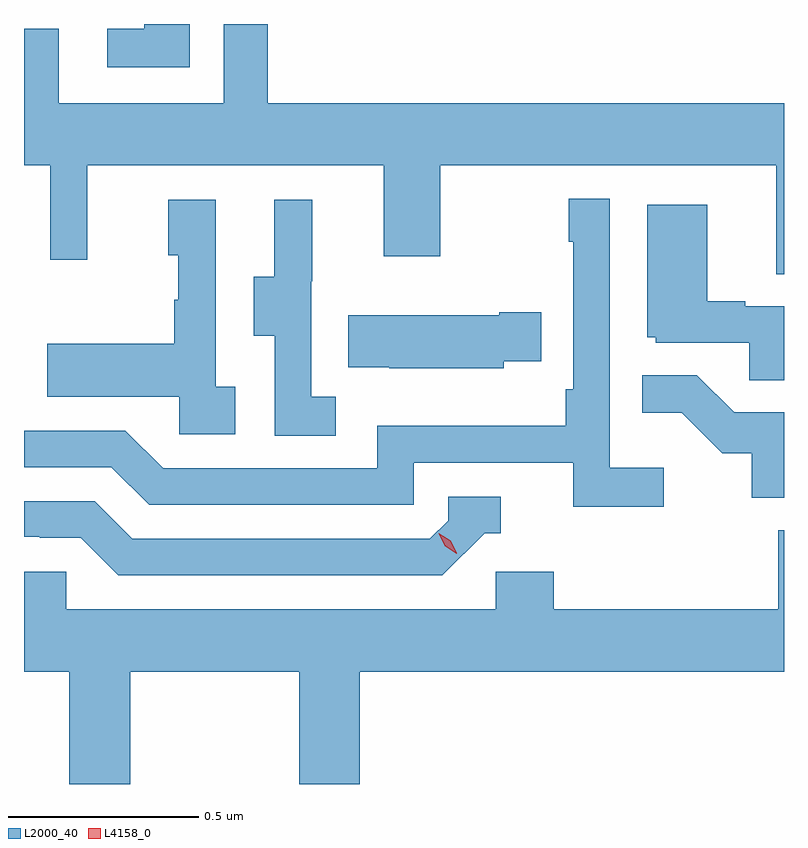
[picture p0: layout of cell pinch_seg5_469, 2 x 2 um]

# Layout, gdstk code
import gdstk
lib = gdstk.Library(unit=1e-6, precision=1e-09)
def P(c, l, *ps):  # polygons
    for p in ps: c.add(gdstk.Polygon(p, *l))
L2000_40 = (2000, 40)
L4158_0 = (4158, 0)

pinch_seg5_469 = lib.new_cell('pinch_seg5_469')
P(pinch_seg5_469, L2000_40, [(945.358,857.132),(945.239,857.132),(945.239,857.119),(945.141,857.119),(945.141,857.018),(945.358,857.018)],
  [(946.922,856.924),(945.563,856.924),(945.563,857.132),(945.447,857.132),(945.447,856.924),(945.013,856.924),(945.013,857.119),(944.922,857.119),(944.922,856.76),(944.991,856.76),(944.991,856.512),(945.089,856.512),(945.089,856.76),(945.869,856.76),(945.869,856.521),(946.017,856.521),(946.017,856.76),(946.901,856.76),(946.901,856.474),(946.922,856.474)],
  [(946.606,855.964),(946.464,855.964),(946.464,856.672),(946.356,856.672),(946.356,856.559),(946.368,856.559),(946.368,856.171),(946.348,856.171),(946.348,856.075),(945.852,856.075),(945.852,855.963),(945.288,855.963),(945.189,856.062),(944.922,856.062),(944.922,855.966),(945.152,855.966),(945.251,855.867),(945.948,855.867),(945.948,855.978),(946.367,855.978),(946.367,855.862),(946.606,855.862)],
  [(945.478,856.178),(945.426,856.178),(945.426,856.669),(945.302,856.669),(945.302,856.524),(945.328,856.524),(945.328,856.406),(945.318,856.406),(945.318,856.291),(944.983,856.291),(944.983,856.151),(945.33,856.151),(945.33,856.053),(945.478,856.053)],
  [(945.742,856.151),(945.678,856.151),(945.678,856.455),(945.68,856.455),(945.68,856.669),(945.581,856.669),(945.581,856.467),(945.527,856.467),(945.527,856.312),(945.582,856.312),(945.582,856.048),(945.742,856.048)],
  [(946.922,856.389),(946.82,856.389),(946.82,856.402),(946.72,856.402),(946.72,856.657),(946.562,856.657),(946.562,856.308),(946.584,856.308),(946.584,856.293),(946.831,856.293),(946.831,856.195),(946.922,856.195)],
  [(946.185,856.244),(946.283,856.244),(946.283,856.374),(946.172,856.374),(946.172,856.366),(945.775,856.366),(945.775,856.229),(945.883,856.229),(945.883,856.226),(946.185,856.226)],
  [(946.922,856.11),(946.791,856.11),(946.693,856.208),(946.549,856.208),(946.549,856.109),(946.653,856.109),(946.76,856.002),(946.837,856.002),(946.837,855.885),(946.922,855.885)],
  [(946.134,855.792),(946.177,855.792),(946.177,855.888),(946.038,855.888),(946.038,855.825),(945.99,855.777),(945.207,855.777),(945.108,855.876),(944.922,855.876),(944.922,855.783),(944.964,855.783),(944.964,855.78),(945.071,855.78),(945.17,855.681),(946.023,855.681)],
  [(945.201,855.428),(945.646,855.428),(945.646,855.132),(945.806,855.132),(945.806,855.428),(946.922,855.428),(946.922,855.8),(946.907,855.8),(946.907,855.592),(946.316,855.592),(946.316,855.69),(946.164,855.69),(946.164,855.592),(945.033,855.592),(945.033,855.69),(944.922,855.69),(944.922,855.428),(945.041,855.428),(945.041,855.132),(945.201,855.132)])
P(pinch_seg5_469, L4158_0, [(946.061,855.738),(946.03,855.758),(946.014,855.791),(946.014,855.792),(946.014,855.792),(946.045,855.772),(946.061,855.739),(946.061,855.738)])

lib.write_gds('pinch_seg5_469.gds')
